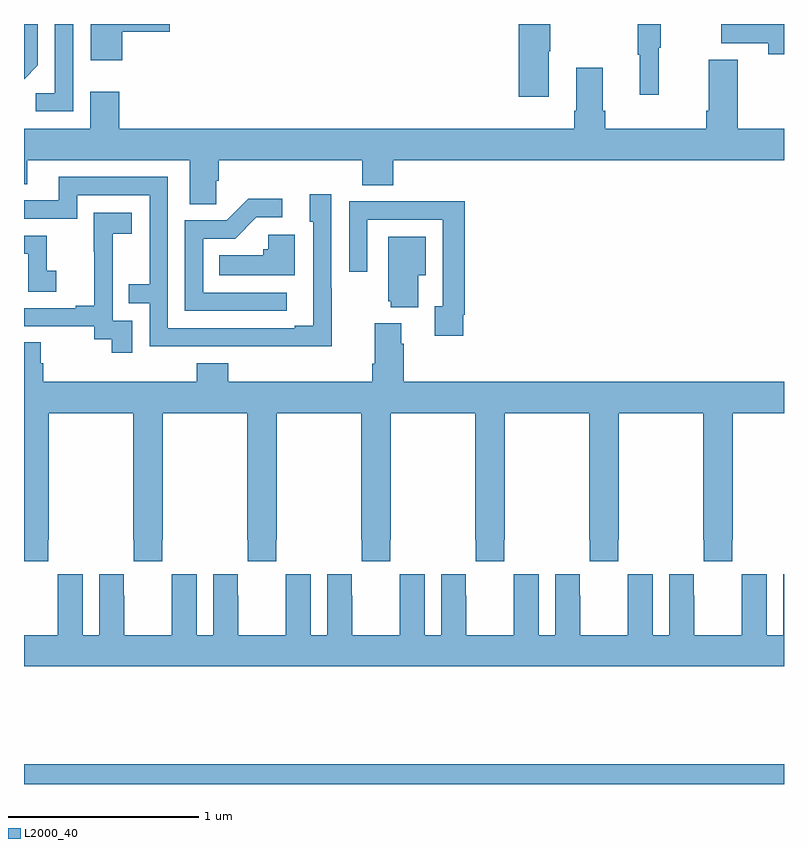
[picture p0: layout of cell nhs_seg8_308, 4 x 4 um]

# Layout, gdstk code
import gdstk
lib = gdstk.Library(unit=1e-6, precision=1e-09)
def R(c, l, rs):  # rectangles x0, y0, x1, y1
    for r in rs: c.add(gdstk.rectangle(r[:2], r[2:], *l))
def P(c, l, *ps):  # polygons
    for p in ps: c.add(gdstk.Polygon(p, *l))
L2000_40 = (2000, 40)

nhs_seg8_308 = lib.new_cell('nhs_seg8_308')
R(nhs_seg8_308, L2000_40, [(131,1095.9,135,1096.004)])
P(nhs_seg8_308, L2000_40, [(135,1099.9),(134.669,1099.9),(134.669,1099.799),(134.918,1099.799),(134.918,1099.74),(135,1099.74)],
  [(134.342,1099.776),(134.35,1099.776),(134.35,1099.9),(134.229,1099.9),(134.229,1099.739),(134.24,1099.739),(134.24,1099.527),(134.342,1099.527)],
  [(133.762,1099.756),(133.77,1099.756),(133.77,1099.9),(133.604,1099.9),(133.604,1099.518),(133.762,1099.518)],
  [(131.518,1099.859),(131.767,1099.859),(131.767,1099.9),(131.351,1099.9),(131.351,1099.71),(131.518,1099.71)],
  [(131.073,1099.682),(131.073,1099.9),(131,1099.9),(131,1099.609)],
  [(131.259,1099.9),(131.163,1099.9),(131.163,1099.536),(131.061,1099.536),(131.061,1099.44),(131.259,1099.44)],
  [(132.012,1099.075),(132.026,1099.075),(132.026,1099.184),(132.779,1099.184),(132.779,1099.051),(132.944,1099.051),(132.944,1099.184),(135,1099.184),(135,1099.348),(134.756,1099.348),(134.756,1099.711),(134.603,1099.711),(134.603,1099.444),(134.591,1099.444),(134.591,1099.348),(134.06,1099.348),(134.06,1099.444),(134.047,1099.444),(134.047,1099.669),(133.907,1099.669),(133.907,1099.444),(133.895,1099.444),(133.895,1099.348),(131.501,1099.348),(131.501,1099.543),(131.348,1099.543),(131.348,1099.348),(131,1099.348),(131,1099.057),(131.017,1099.057),(131.017,1099.184),(131.873,1099.184),(131.873,1098.952),(132.012,1098.952)],
  [(132.621,1098.509),(132.618,1098.509),(132.618,1099.003),(132.503,1099.003),(132.503,1098.858),(132.522,1098.858),(132.522,1098.313),(132.425,1098.313),(132.425,1098.3),(131.757,1098.3),(131.757,1099.095),(131.183,1099.095),(131.183,1098.972),(131,1098.972),(131,1098.876),(131.28,1098.876),(131.28,1098.999),(131.661,1098.999),(131.661,1098.53),(131.551,1098.53),(131.551,1098.429),(131.661,1098.429),(131.661,1098.204),(132.157,1098.204),(132.157,1098.203),(132.621,1098.203)],
  [(132.382,1098.486),(131.943,1098.486),(131.943,1098.771),(132.112,1098.771),(132.223,1098.882),(132.358,1098.882),(132.358,1098.98),(132.179,1098.98),(132.066,1098.867),(131.847,1098.867),(131.847,1098.39),(132.382,1098.39)],
  [(133.312,1098.37),(133.319,1098.37),(133.319,1098.968),(133.027,1098.968),(133.027,1098.966),(132.711,1098.966),(132.711,1098.597),(132.807,1098.597),(132.807,1098.87),(133.203,1098.87),(133.203,1098.414),(133.163,1098.414),(133.163,1098.258),(133.312,1098.258)],
  [(131.571,1098.339),(131.466,1098.339),(131.466,1098.569),(131.468,1098.569),(131.468,1098.797),(131.566,1098.797),(131.566,1098.907),(131.368,1098.907),(131.368,1098.701),(131.369,1098.701),(131.369,1098.418),(131.273,1098.418),(131.273,1098.405),(131,1098.405),(131,1098.309),(131.37,1098.309),(131.37,1098.241),(131.463,1098.241),(131.463,1098.171),(131.571,1098.171)],
  [(132.424,1098.79),(132.285,1098.79),(132.285,1098.714),(132.259,1098.714),(132.259,1098.682),(132.028,1098.682),(132.028,1098.578),(132.424,1098.578)],
  [(131.17,1098.601),(131.121,1098.601),(131.121,1098.786),(131,1098.786),(131,1098.69),(131.022,1098.69),(131.022,1098.492),(131.17,1098.492)],
  [(133.075,1098.578),(133.114,1098.578),(133.114,1098.781),(132.917,1098.781),(132.917,1098.441),(132.929,1098.441),(132.929,1098.41),(133.075,1098.41)],
  [(131.102,1098.114),(131.089,1098.114),(131.089,1098.224),(131,1098.224),(131,1097.073),(131.127,1097.073),(131.127,1097.185),(131.13,1097.185),(131.13,1097.852),(131.575,1097.852),(131.575,1097.185),(131.577,1097.185),(131.577,1097.073),(131.727,1097.073),(131.727,1097.185),(131.73,1097.185),(131.73,1097.852),(132.175,1097.852),(132.175,1097.185),(132.177,1097.185),(132.177,1097.073),(132.327,1097.073),(132.327,1097.185),(132.33,1097.185),(132.33,1097.852),(132.775,1097.852),(132.775,1097.185),(132.777,1097.185),(132.777,1097.073),(132.927,1097.073),(132.927,1097.185),(132.93,1097.185),(132.93,1097.852),(133.375,1097.852),(133.375,1097.185),(133.377,1097.185),(133.377,1097.073),(133.527,1097.073),(133.527,1097.185),(133.53,1097.185),(133.53,1097.852),(133.975,1097.852),(133.975,1097.185),(133.977,1097.185),(133.977,1097.073),(134.127,1097.073),(134.127,1097.185),(134.13,1097.185),(134.13,1097.852),(134.575,1097.852),(134.575,1097.185),(134.577,1097.185),(134.577,1097.073),(134.727,1097.073),(134.727,1097.185),(134.73,1097.185),(134.73,1097.852),(135,1097.852),(135,1098.016),(132.998,1098.016),(132.998,1098.218),(132.985,1098.218),(132.985,1098.325),(132.845,1098.325),(132.845,1098.112),(132.833,1098.112),(132.833,1098.016),(132.074,1098.016),(132.074,1098.115),(131.909,1098.115),(131.909,1098.016),(131.102,1098.016)],
  [(135,1097.005),(134.996,1097.005),(134.996,1096.684),(134.908,1096.684),(134.908,1097.005),(134.778,1097.005),(134.778,1096.892),(134.777,1096.892),(134.777,1096.684),(134.527,1096.684),(134.527,1096.892),(134.526,1096.892),(134.526,1097.005),(134.396,1097.005),(134.396,1096.684),(134.308,1096.684),(134.308,1097.005),(134.178,1097.005),(134.178,1096.892),(134.177,1096.892),(134.177,1096.684),(133.927,1096.684),(133.927,1096.892),(133.926,1096.892),(133.926,1097.005),(133.796,1097.005),(133.796,1096.684),(133.708,1096.684),(133.708,1097.005),(133.578,1097.005),(133.578,1096.892),(133.577,1096.892),(133.577,1096.684),(133.327,1096.684),(133.327,1096.892),(133.326,1096.892),(133.326,1097.005),(133.196,1097.005),(133.196,1096.684),(133.108,1096.684),(133.108,1097.005),(132.978,1097.005),(132.978,1096.892),(132.977,1096.892),(132.977,1096.684),(132.727,1096.684),(132.727,1096.892),(132.726,1096.892),(132.726,1097.005),(132.596,1097.005),(132.596,1096.684),(132.508,1096.684),(132.508,1097.005),(132.378,1097.005),(132.378,1096.892),(132.377,1096.892),(132.377,1096.684),(132.127,1096.684),(132.127,1096.892),(132.126,1096.892),(132.126,1097.005),(131.996,1097.005),(131.996,1096.684),(131.908,1096.684),(131.908,1097.005),(131.778,1097.005),(131.778,1096.892),(131.777,1096.892),(131.777,1096.684),(131.527,1096.684),(131.527,1096.892),(131.526,1096.892),(131.526,1097.005),(131.396,1097.005),(131.396,1096.684),(131.308,1096.684),(131.308,1097.005),(131.178,1097.005),(131.178,1096.892),(131.177,1096.892),(131.177,1096.684),(131,1096.684),(131,1096.52),(135,1096.52)])

lib.write_gds('nhs_seg8_308.gds')
